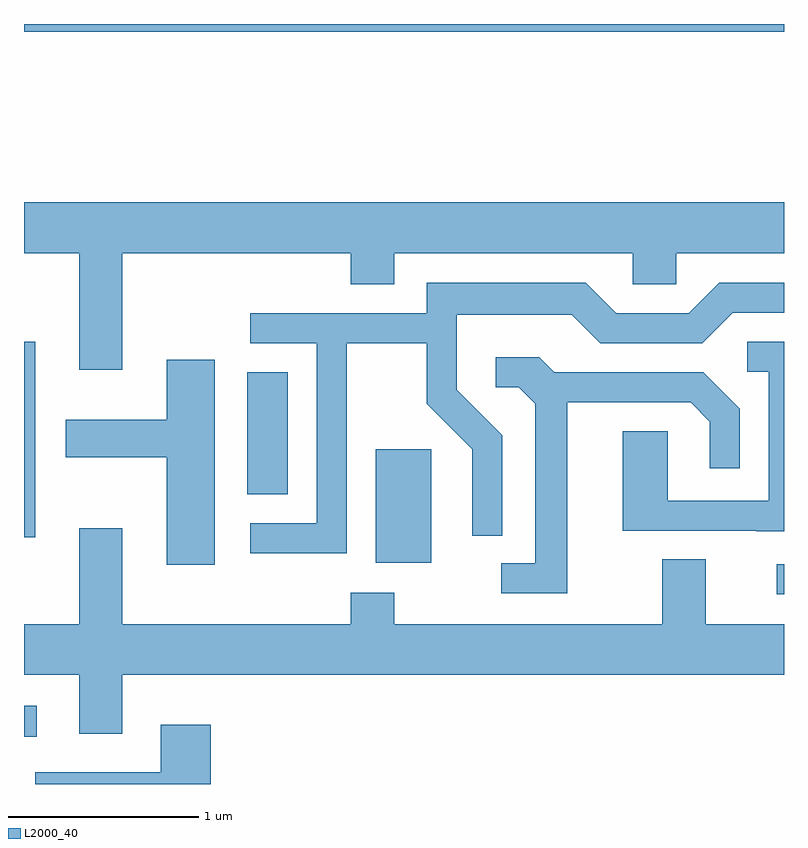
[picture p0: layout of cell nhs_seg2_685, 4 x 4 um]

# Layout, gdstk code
import gdstk
lib = gdstk.Library(unit=1e-6, precision=1e-09)
def R(c, l, rs):  # rectangles x0, y0, x1, y1
    for r in rs: c.add(gdstk.rectangle(r[:2], r[2:], *l))
def P(c, l, *ps):  # polygons
    for p in ps: c.add(gdstk.Polygon(p, *l))
L2000_40 = (2000, 40)

nhs_seg2_685 = lib.new_cell('nhs_seg2_685')
R(nhs_seg2_685, L2000_40, [(205.611,988.051,205.678,988.214), (209.573,988.801,209.611,988.959), (207.461,988.966,207.754,989.564), (205.611,989.101,205.669,990.129), (206.786,989.326,206.999,989.969), (205.611,991.761,209.611,991.802)])
P(nhs_seg2_685, L2000_40, [(206.129,990.596),(207.331,990.596),(207.331,990.431),(207.559,990.431),(207.559,990.596),(208.816,990.596),(208.816,990.431),(209.044,990.431),(209.044,990.596),(209.611,990.596),(209.611,990.864),(205.611,990.864),(205.611,990.596),(205.901,990.596),(205.901,989.981),(206.129,989.981)],
  [(207.309,990.121),(207.731,990.121),(207.731,989.804),(207.971,989.564),(207.971,989.108),(208.129,989.108),(208.129,989.637),(207.889,989.877),(207.889,990.271),(208.494,990.271),(208.644,990.121),(209.182,990.121),(209.342,990.281),(209.611,990.281),(209.611,990.439),(209.269,990.439),(209.109,990.279),(208.727,990.279),(208.567,990.439),(207.731,990.439),(207.731,990.279),(206.803,990.279),(206.803,990.121),(207.151,990.121),(207.151,989.174),(206.803,989.174),(206.803,989.016),(207.309,989.016)],
  [(209.611,990.129),(209.418,990.129),(209.418,989.971),(209.531,989.971),(209.531,989.294),(208.999,989.294),(208.999,989.659),(208.761,989.659),(208.761,989.136),(209.465,989.136),(209.465,989.131),(209.611,989.131)],
  [(208.469,989.811),(209.119,989.811),(209.221,989.709),(209.221,989.463),(209.379,989.463),(209.379,989.777),(209.187,989.969),(208.402,989.969),(208.322,990.049),(208.093,990.049),(208.093,989.891),(208.214,989.891),(208.301,989.804),(208.301,988.964),(208.123,988.964),(208.123,988.806),(208.469,988.806)],
  [(206.614,990.034),(206.361,990.034),(206.361,989.719),(205.831,989.719),(205.831,989.521),(206.361,989.521),(206.361,988.956),(206.614,988.956)],
  [(206.129,988.376),(209.611,988.376),(209.611,988.644),(209.199,988.644),(209.199,988.984),(208.971,988.984),(208.971,988.644),(207.559,988.644),(207.559,988.809),(207.331,988.809),(207.331,988.644),(206.129,988.644),(206.129,989.149),(205.901,989.149),(205.901,988.644),(205.611,988.644),(205.611,988.376),(205.901,988.376),(205.901,988.066),(206.129,988.066)],
  [(206.594,988.114),(206.331,988.114),(206.331,987.864),(205.671,987.864),(205.671,987.802),(206.594,987.802)])

lib.write_gds('nhs_seg2_685.gds')
